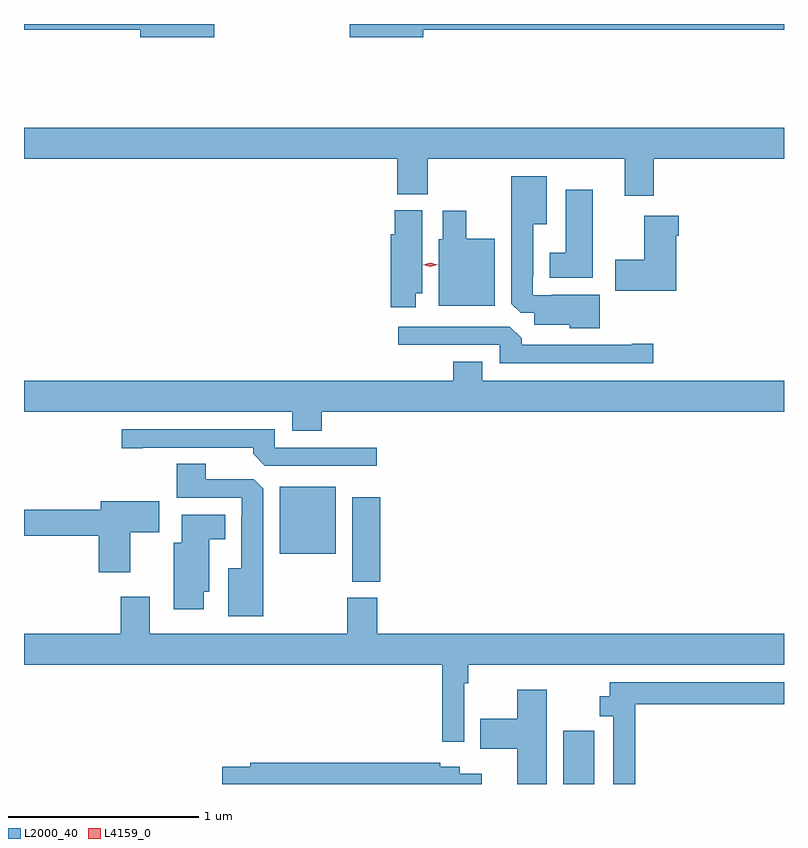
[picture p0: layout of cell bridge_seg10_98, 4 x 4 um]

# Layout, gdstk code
import gdstk
lib = gdstk.Library(unit=1e-6, precision=1e-09)
def R(c, l, rs):  # rectangles x0, y0, x1, y1
    for r in rs: c.add(gdstk.rectangle(r[:2], r[2:], *l))
def P(c, l, *ps):  # polygons
    for p in ps: c.add(gdstk.Polygon(p, *l))
L2000_40 = (2000, 40)
L4159_0 = (4159, 0)

bridge_seg10_98 = lib.new_cell('bridge_seg10_98')
R(bridge_seg10_98, L2000_40, [(503.234,1303.417,503.381,1303.861), (502.853,1303.565,503.146,1303.918)])
P(bridge_seg10_98, L2000_40, [(502.507,1306.353),(501.506,1306.353),(501.506,1306.324),(502.118,1306.324),(502.118,1306.282),(502.507,1306.282)],
  [(503.608,1306.324),(505.506,1306.324),(505.506,1306.353),(503.22,1306.353),(503.22,1306.282),(503.608,1306.282)],
  [(504.821,1305.644),(505.506,1305.644),(505.506,1305.808),(501.506,1305.808),(501.506,1305.644),(503.471,1305.644),(503.471,1305.457),(503.631,1305.457),(503.631,1305.644),(504.668,1305.644),(504.668,1305.45),(504.821,1305.45)],
  [(504.535,1304.929),(504.283,1304.929),(504.283,1304.925),(504.183,1304.925),(504.183,1305.025),(504.187,1305.025),(504.187,1305.299),(504.256,1305.299),(504.256,1305.553),(504.071,1305.553),(504.071,1304.881),(504.12,1304.832),(504.191,1304.832),(504.191,1304.771),(504.378,1304.771),(504.378,1304.753),(504.535,1304.753)],
  [(504.499,1305.481),(504.356,1305.481),(504.356,1305.148),(504.272,1305.148),(504.272,1305.017),(504.499,1305.017)],
  [(503.569,1304.936),(503.602,1304.936),(503.602,1305.372),(503.456,1305.372),(503.456,1305.246),(503.435,1305.246),(503.435,1304.862),(503.569,1304.862)],
  [(503.983,1305.223),(503.833,1305.223),(503.833,1305.37),(503.711,1305.37),(503.711,1305.219),(503.69,1305.219),(503.69,1304.87),(503.983,1304.87)],
  [(504.94,1305.239),(504.953,1305.239),(504.953,1305.343),(504.77,1305.343),(504.77,1305.111),(504.618,1305.111),(504.618,1304.948),(504.94,1304.948)],
  [(504.817,1304.669),(504.704,1304.669),(504.704,1304.664),(504.125,1304.664),(504.125,1304.698),(504.063,1304.76),(503.475,1304.76),(503.475,1304.664),(504.009,1304.664),(504.009,1304.568),(504.817,1304.568)],
  [(503.072,1304.312),(505.506,1304.312),(505.506,1304.476),(503.917,1304.476),(503.917,1304.575),(503.765,1304.575),(503.765,1304.476),(501.506,1304.476),(501.506,1304.312),(502.919,1304.312),(502.919,1304.213),(503.072,1304.213)],
  [(503.362,1304.124),(502.827,1304.124),(502.827,1304.22),(502.02,1304.22),(502.02,1304.119),(502.132,1304.119),(502.132,1304.124),(502.712,1304.124),(502.712,1304.09),(502.773,1304.028),(503.362,1304.028)],
  [(502.765,1303.907),(502.716,1303.956),(502.462,1303.956),(502.462,1304.039),(502.31,1304.039),(502.31,1303.86),(502.653,1303.86),(502.653,1303.763),(502.649,1303.763),(502.649,1303.489),(502.58,1303.489),(502.58,1303.235),(502.765,1303.235)],
  [(502.066,1303.678),(502.219,1303.678),(502.219,1303.84),(501.911,1303.84),(501.911,1303.796),(501.506,1303.796),(501.506,1303.66),(501.899,1303.66),(501.899,1303.467),(502.066,1303.467)],
  [(502.453,1303.365),(502.48,1303.365),(502.48,1303.64),(502.564,1303.64),(502.564,1303.771),(502.337,1303.771),(502.337,1303.624),(502.295,1303.624),(502.295,1303.272),(502.453,1303.272)],
  [(503.823,1302.884),(503.843,1302.884),(503.843,1302.98),(505.506,1302.98),(505.506,1303.144),(503.366,1303.144),(503.366,1303.332),(503.206,1303.332),(503.206,1303.144),(502.168,1303.144),(502.168,1303.339),(502.016,1303.339),(502.016,1303.144),(501.506,1303.144),(501.506,1302.98),(503.707,1302.98),(503.707,1302.576),(503.823,1302.576)],
  [(504.722,1302.772),(505.506,1302.772),(505.506,1302.888),(504.59,1302.888),(504.59,1302.814),(504.535,1302.814),(504.535,1302.709),(504.606,1302.709),(504.606,1302.353),(504.722,1302.353)],
  [(504.256,1302.85),(504.101,1302.85),(504.101,1302.697),(503.908,1302.697),(503.908,1302.539),(504.101,1302.539),(504.101,1302.353),(504.256,1302.353)],
  [(504.508,1302.521),(504.506,1302.521),(504.506,1302.634),(504.344,1302.634),(504.344,1302.353),(504.508,1302.353)],
  [(503.914,1302.406),(503.8,1302.406),(503.8,1302.445),(503.696,1302.445),(503.696,1302.464),(502.696,1302.464),(502.696,1302.444),(502.55,1302.444),(502.55,1302.353),(503.914,1302.353)])
P(bridge_seg10_98, L4159_0, [(503.645,1305.076),(503.608,1305.086),(503.607,1305.086),(503.608,1305.086),(503.645,1305.096),(503.683,1305.086),(503.683,1305.086),(503.683,1305.086)])

lib.write_gds('bridge_seg10_98.gds')
